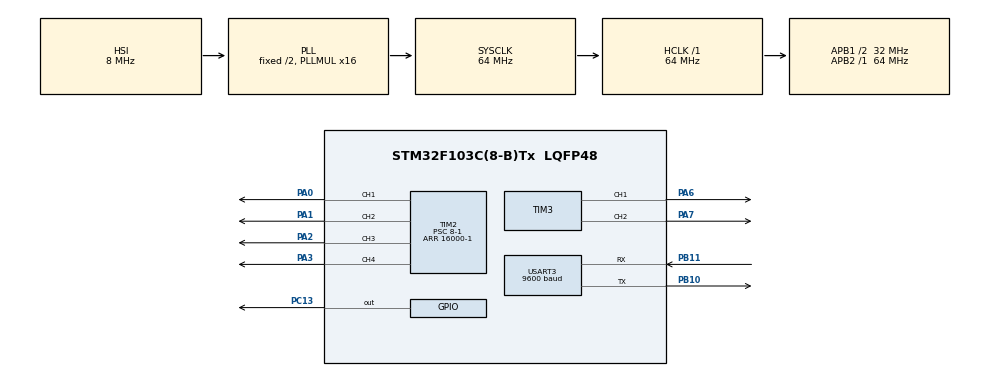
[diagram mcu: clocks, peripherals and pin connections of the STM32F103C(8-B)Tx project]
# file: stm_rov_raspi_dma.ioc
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Dma.Request0=USART3_RX
Dma.Request1=USART3_TX
Dma.USART3_RX.0.Direction=DMA_PERIPH_TO_MEMORY
Dma.USART3_RX.0.Instance=DMA1_Channel3
Dma.USART3_RX.0.MemDataAlignment=DMA_MDATAALIGN_BYTE
Dma.USART3_RX.0.MemInc=DMA_MINC_ENABLE
Dma.USART3_RX.0.Mode=DMA_NORMAL
Dma.USART3_RX.0.PeriphDataAlignment=DMA_PDATAALIGN_BYTE
Dma.USART3_RX.0.PeriphInc=DMA_PINC_DISABLE
Dma.USART3_RX.0.Priority=DMA_PRIORITY_LOW
Dma.USART3_TX.1.Direction=DMA_MEMORY_TO_PERIPH
Dma.USART3_TX.1.Instance=DMA1_Channel2
Dma.USART3_TX.1.MemDataAlignment=DMA_MDATAALIGN_BYTE
Dma.USART3_TX.1.MemInc=DMA_MINC_ENABLE
Dma.USART3_TX.1.Mode=DMA_NORMAL
Dma.USART3_TX.1.PeriphDataAlignment=DMA_PDATAALIGN_BYTE
Dma.USART3_TX.1.PeriphInc=DMA_PINC_DISABLE
Dma.USART3_TX.1.Priority=DMA_PRIORITY_LOW
Mcu.Family=STM32F1
Mcu.Name=STM32F103C(8-B)Tx
Mcu.Package=LQFP48
NVIC.DMA1_Channel2_IRQn=true\:0\:0\:false\:false\:true\:false\:true\:true
NVIC.DMA1_Channel3_IRQn=true\:0\:0\:false\:false\:true\:false\:true\:true
NVIC.PriorityGroup=NVIC_PRIORITYGROUP_4
PA0-WKUP.Signal=S_TIM2_CH1_ETR
PA1.Signal=S_TIM2_CH2
PA13.Mode=Serial_Wire
PA13.Signal=SYS_JTMS-SWDIO
PA14.Mode=Serial_Wire
PA14.Signal=SYS_JTCK-SWCLK
PA2.Signal=S_TIM2_CH3
PA3.Signal=S_TIM2_CH4
PA6.Signal=S_TIM3_CH1
PA7.Signal=S_TIM3_CH2
PB10.Mode=Asynchronous
PB10.Signal=USART3_TX
PB11.Mode=Asynchronous
PB11.Signal=USART3_RX
PC13-TAMPER-RTC.Signal=GPIO_Output
ProjectManager.HeapSize=0x200
ProjectManager.StackSize=0x400
ProjectManager.TargetToolchain=STM32CubeIDE
RCC.AHBFreq_Value=64000000
RCC.APB1CLKDivider=RCC_HCLK_DIV2
RCC.APB1Freq_Value=32000000
RCC.APB1TimFreq_Value=64000000
RCC.APB2Freq_Value=64000000
RCC.APB2TimFreq_Value=64000000
RCC.HCLKFreq_Value=64000000
RCC.PLLMUL=RCC_PLL_MUL16
RCC.SYSCLKFreq_VALUE=64000000
RCC.SYSCLKSource=RCC_SYSCLKSOURCE_PLLCLK
RCC.USBFreq_Value=64000000
SH.S_TIM2_CH1_ETR.0=TIM2_CH1,PWM Generation1 CH1
SH.S_TIM2_CH2.0=TIM2_CH2,PWM Generation2 CH2
SH.S_TIM2_CH3.0=TIM2_CH3,PWM Generation3 CH3
SH.S_TIM2_CH4.0=TIM2_CH4,PWM Generation4 CH4
SH.S_TIM3_CH1.0=TIM3_CH1,PWM Generation1 CH1
SH.S_TIM3_CH2.0=TIM3_CH2,PWM Generation2 CH2
TIM2.Channel-PWM\ Generation1\ CH1=TIM_CHANNEL_1
TIM2.Channel-PWM\ Generation2\ CH2=TIM_CHANNEL_2
TIM2.Channel-PWM\ Generation3\ CH3=TIM_CHANNEL_3
TIM2.Channel-PWM\ Generation4\ CH4=TIM_CHANNEL_4
TIM2.Period=16000-1
TIM2.Prescaler=8-1
TIM3.Channel-PWM\ Generation1\ CH1=TIM_CHANNEL_1
TIM3.Channel-PWM\ Generation2\ CH2=TIM_CHANNEL_2
USART3.BaudRate=9600
USART3.VirtualMode=VM_ASYNC
board=custom

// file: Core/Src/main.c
/* USER CODE BEGIN Header */
/**
  ******************************************************************************
  * @file           : main.c
  * @brief          : Main program body
  ******************************************************************************
  * @attention
  *
  * Copyright (c) 2024 STMicroelectronics.
  * All rights reserved.
  *
  * This software is licensed under terms that can be found in the LICENSE file
  * in the root directory of this software component.
  * If no LICENSE file comes with this software, it is provided AS-IS.
  *
  ******************************************************************************
  */
/* USER CODE END Header */
#include "main.h"

TIM_HandleTypeDef htim2;
TIM_HandleTypeDef htim3;

UART_HandleTypeDef huart3;
DMA_HandleTypeDef hdma_usart3_rx;
DMA_HandleTypeDef hdma_usart3_tx;

void SystemClock_Config(void);
static void MX_GPIO_Init(void);
static void MX_DMA_Init(void);
static void MX_USART3_UART_Init(void);
static void MX_TIM3_Init(void);
static void MX_TIM2_Init(void);

/* USER CODE BEGIN 0 */
#include "string.h"
#include "stdio.h"

uint8_t RxData[8];
uint8_t motorverisi[8];
void HAL_UART_RxCpltCallback(UART_HandleTypeDef *huart)
{
	for (int x = 0; x < 8; x++)
	{
		motorverisi[x] = RxData[x];
	}
	HAL_UART_Receive_DMA(&huart3, RxData, sizeof(RxData));
}
/* USER CODE END 0 */

int main(void)
{

  /* MCU Configuration--------------------------------------------------------*/

  /* Reset of all peripherals, Initializes the Flash interface and the Systick. */
  HAL_Init();

  /* Configure the system clock */
  SystemClock_Config();

  /* Initialize all configured peripherals */
  MX_GPIO_Init();
  MX_DMA_Init();
  MX_USART3_UART_Init();
  MX_TIM3_Init();
  MX_TIM2_Init();
  /* USER CODE BEGIN 2 */
  HAL_UART_Receive_DMA(&huart3, RxData, sizeof(RxData));

  HAL_GPIO_WritePin(GPIOC, GPIO_PIN_13, GPIO_PIN_SET);

  HAL_TIM_PWM_Start(&htim2, TIM_CHANNEL_1); // motor1
    HAL_TIM_PWM_Start(&htim2, TIM_CHANNEL_2); // motor2
    HAL_TIM_PWM_Start(&htim2, TIM_CHANNEL_3); // motor3
    HAL_TIM_PWM_Start(&htim2, TIM_CHANNEL_4); // motor4
    HAL_TIM_PWM_Start(&htim3, TIM_CHANNEL_1); // motor5
    HAL_TIM_PWM_Start(&htim3, TIM_CHANNEL_2); // motor6
  /* USER CODE END 2 */

  /* Infinite loop */
  /* USER CODE BEGIN WHILE */

    memset(motorverisi, 80, 6*sizeof(*motorverisi));
    __HAL_TIM_SET_COMPARE(&htim2,TIM_CHANNEL_1, 6000);
    __HAL_TIM_SET_COMPARE(&htim2,TIM_CHANNEL_2, 6000);
    __HAL_TIM_SET_COMPARE(&htim2,TIM_CHANNEL_3, 6000);
    __HAL_TIM_SET_COMPARE(&htim2,TIM_CHANNEL_4, 6000);
    __HAL_TIM_SET_COMPARE(&htim3,TIM_CHANNEL_1, 6000);
    __HAL_TIM_SET_COMPARE(&htim3,TIM_CHANNEL_2, 6000);

  while (1)
  {

    /* USER CODE END WHILE */

  }
}

void SystemClock_Config(void)
{
  RCC_OscInitTypeDef RCC_OscInitStruct = {0};
  RCC_ClkInitTypeDef RCC_ClkInitStruct = {0};

  /** Initializes the RCC Oscillators according to the specified parameters
  * in the RCC_OscInitTypeDef structure.
  */
  RCC_OscInitStruct.OscillatorType = RCC_OSCILLATORTYPE_HSI;
  RCC_OscInitStruct.HSIState = RCC_HSI_ON;
  RCC_OscInitStruct.HSICalibrationValue = RCC_HSICALIBRATION_DEFAULT;
  RCC_OscInitStruct.PLL.PLLState = RCC_PLL_ON;
  RCC_OscInitStruct.PLL.PLLSource = RCC_PLLSOURCE_HSI_DIV2;
  RCC_OscInitStruct.PLL.PLLMUL = RCC_PLL_MUL16;
  if (HAL_RCC_OscConfig(&RCC_OscInitStruct) != HAL_OK)
  {
    Error_Handler();
  }

  /** Initializes the CPU, AHB and APB buses clocks
  */
  RCC_ClkInitStruct.ClockType = RCC_CLOCKTYPE_HCLK|RCC_CLOCKTYPE_SYSCLK
                              |RCC_CLOCKTYPE_PCLK1|RCC_CLOCKTYPE_PCLK2;
  RCC_ClkInitStruct.SYSCLKSource = RCC_SYSCLKSOURCE_PLLCLK;
  RCC_ClkInitStruct.AHBCLKDivider = RCC_SYSCLK_DIV1;
  RCC_ClkInitStruct.APB1CLKDivider = RCC_HCLK_DIV2;
  RCC_ClkInitStruct.APB2CLKDivider = RCC_HCLK_DIV1;

  if (HAL_RCC_ClockConfig(&RCC_ClkInitStruct, FLASH_LATENCY_2) != HAL_OK)
  {
    Error_Handler();
  }
}

static void MX_TIM2_Init(void)
{

  TIM_MasterConfigTypeDef sMasterConfig = {0};
  TIM_OC_InitTypeDef sConfigOC = {0};

  htim2.Instance = TIM2;
  htim2.Init.Prescaler = 8-1;
  htim2.Init.CounterMode = TIM_COUNTERMODE_UP;
  htim2.Init.Period = 16000-1;
  htim2.Init.ClockDivision = TIM_CLOCKDIVISION_DIV1;
  htim2.Init.AutoReloadPreload = TIM_AUTORELOAD_PRELOAD_DISABLE;
  if (HAL_TIM_PWM_Init(&htim2) != HAL_OK)
  {
    Error_Handler();
  }
  sMasterConfig.MasterOutputTrigger = TIM_TRGO_RESET;
  sMasterConfig.MasterSlaveMode = TIM_MASTERSLAVEMODE_DISABLE;
  if (HAL_TIMEx_MasterConfigSynchronization(&htim2, &sMasterConfig) != HAL_OK)
  {
    Error_Handler();
  }
  sConfigOC.OCMode = TIM_OCMODE_PWM1;
  sConfigOC.Pulse = 0;
  sConfigOC.OCPolarity = TIM_OCPOLARITY_HIGH;
  sConfigOC.OCFastMode = TIM_OCFAST_DISABLE;
  if (HAL_TIM_PWM_ConfigChannel(&htim2, &sConfigOC, TIM_CHANNEL_1) != HAL_OK)
  {
    Error_Handler();
  }
  if (HAL_TIM_PWM_ConfigChannel(&htim2, &sConfigOC, TIM_CHANNEL_2) != HAL_OK)
  {
    Error_Handler();
  }
  if (HAL_TIM_PWM_ConfigChannel(&htim2, &sConfigOC, TIM_CHANNEL_3) != HAL_OK)
  {
    Error_Handler();
  }
  if (HAL_TIM_PWM_ConfigChannel(&htim2, &sConfigOC, TIM_CHANNEL_4) != HAL_OK)
  {
    Error_Handler();
  }
  HAL_TIM_MspPostInit(&htim2);

}

static void MX_TIM3_Init(void)
{

  TIM_MasterConfigTypeDef sMasterConfig = {0};
  TIM_OC_InitTypeDef sConfigOC = {0};

  htim3.Instance = TIM3;
  htim3.Init.Prescaler = 0;
  htim3.Init.CounterMode = TIM_COUNTERMODE_UP;
  htim3.Init.Period = 65535;
  htim3.Init.ClockDivision = TIM_CLOCKDIVISION_DIV1;
  htim3.Init.AutoReloadPreload = TIM_AUTORELOAD_PRELOAD_DISABLE;
  if (HAL_TIM_PWM_Init(&htim3) != HAL_OK)
  {
    Error_Handler();
  }
  sMasterConfig.MasterOutputTrigger = TIM_TRGO_RESET;
  sMasterConfig.MasterSlaveMode = TIM_MASTERSLAVEMODE_DISABLE;
  if (HAL_TIMEx_MasterConfigSynchronization(&htim3, &sMasterConfig) != HAL_OK)
  {
    Error_Handler();
  }
  sConfigOC.OCMode = TIM_OCMODE_PWM1;
  sConfigOC.Pulse = 0;
  sConfigOC.OCPolarity = TIM_OCPOLARITY_HIGH;
  sConfigOC.OCFastMode = TIM_OCFAST_DISABLE;
  if (HAL_TIM_PWM_ConfigChannel(&htim3, &sConfigOC, TIM_CHANNEL_1) != HAL_OK)
  {
    Error_Handler();
  }
  if (HAL_TIM_PWM_ConfigChannel(&htim3, &sConfigOC, TIM_CHANNEL_2) != HAL_OK)
  {
    Error_Handler();
  }
  HAL_TIM_MspPostInit(&htim3);

}

static void MX_USART3_UART_Init(void)
{

  huart3.Instance = USART3;
  huart3.Init.BaudRate = 9600;
  huart3.Init.WordLength = UART_WORDLENGTH_8B;
  huart3.Init.StopBits = UART_STOPBITS_1;
  huart3.Init.Parity = UART_PARITY_NONE;
  huart3.Init.Mode = UART_MODE_TX_RX;
  huart3.Init.HwFlowCtl = UART_HWCONTROL_NONE;
  huart3.Init.OverSampling = UART_OVERSAMPLING_16;
  if (HAL_UART_Init(&huart3) != HAL_OK)
  {
    Error_Handler();
  }

}

static void MX_DMA_Init(void)
{

  /* DMA controller clock enable */
  __HAL_RCC_DMA1_CLK_ENABLE();

  /* DMA interrupt init */
  /* DMA1_Channel2_IRQn interrupt configuration */
  HAL_NVIC_SetPriority(DMA1_Channel2_IRQn, 0, 0);
  HAL_NVIC_EnableIRQ(DMA1_Channel2_IRQn);
  /* DMA1_Channel3_IRQn interrupt configuration */
  HAL_NVIC_SetPriority(DMA1_Channel3_IRQn, 0, 0);
  HAL_NVIC_EnableIRQ(DMA1_Channel3_IRQn);

}

static void MX_GPIO_Init(void)
{
  GPIO_InitTypeDef GPIO_InitStruct = {0};

  /* GPIO Ports Clock Enable */
  __HAL_RCC_GPIOC_CLK_ENABLE();
  __HAL_RCC_GPIOA_CLK_ENABLE();
  __HAL_RCC_GPIOB_CLK_ENABLE();

  /*Configure GPIO pin Output Level */
  HAL_GPIO_WritePin(GPIOC, GPIO_PIN_13, GPIO_PIN_RESET);

  /*Configure GPIO pin : PC13 */
  GPIO_InitStruct.Pin = GPIO_PIN_13;
  GPIO_InitStruct.Mode = GPIO_MODE_OUTPUT_PP;
  GPIO_InitStruct.Pull = GPIO_NOPULL;
  GPIO_InitStruct.Speed = GPIO_SPEED_FREQ_LOW;
  HAL_GPIO_Init(GPIOC, &GPIO_InitStruct);

}

void Error_Handler(void)
{
  __disable_irq();
  while (1)
  {
  }
}
